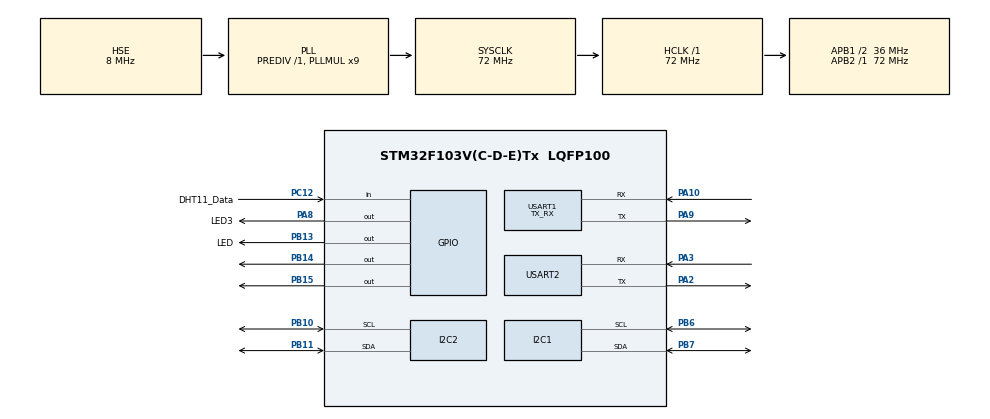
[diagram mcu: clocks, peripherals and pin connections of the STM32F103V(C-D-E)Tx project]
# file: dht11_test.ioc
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Dma.Request0=USART2_RX
Dma.USART2_RX.0.Direction=DMA_PERIPH_TO_MEMORY
Dma.USART2_RX.0.Instance=DMA1_Channel6
Dma.USART2_RX.0.MemDataAlignment=DMA_MDATAALIGN_BYTE
Dma.USART2_RX.0.MemInc=DMA_MINC_ENABLE
Dma.USART2_RX.0.Mode=DMA_NORMAL
Dma.USART2_RX.0.PeriphDataAlignment=DMA_PDATAALIGN_BYTE
Dma.USART2_RX.0.PeriphInc=DMA_PINC_DISABLE
Dma.USART2_RX.0.Priority=DMA_PRIORITY_LOW
Mcu.Family=STM32F1
Mcu.Name=STM32F103V(C-D-E)Tx
Mcu.Package=LQFP100
NVIC.DMA1_Channel6_IRQn=true\:0\:0\:false\:false\:true\:false\:true
NVIC.PriorityGroup=NVIC_PRIORITYGROUP_4
NVIC.TIM1_UP_IRQn=true\:0\:0\:false\:false\:true\:true\:true
NVIC.TIM2_IRQn=true\:0\:0\:false\:false\:true\:true\:true
NVIC.TIM3_IRQn=true\:0\:0\:false\:false\:true\:true\:true
NVIC.USART1_IRQn=true\:0\:0\:false\:false\:true\:true\:true
NVIC.USART2_IRQn=true\:0\:0\:false\:false\:true\:true\:true
OSC_IN.Mode=HSE-External-Oscillator
OSC_IN.Signal=RCC_OSC_IN
OSC_OUT.Mode=HSE-External-Oscillator
OSC_OUT.Signal=RCC_OSC_OUT
PA10.Mode=Asynchronous
PA10.Signal=USART1_RX
PA13.Mode=Serial_Wire
PA13.Signal=SYS_JTMS-SWDIO
PA14.Mode=Serial_Wire
PA14.Signal=SYS_JTCK-SWCLK
PA2.Mode=Asynchronous
PA2.Signal=USART2_TX
PA3.Mode=Asynchronous
PA3.Signal=USART2_RX
PA8.GPIO_Label=LED3
PA8.GPIO_Speed=GPIO_SPEED_FREQ_HIGH
PA8.PinState=GPIO_PIN_SET
PA8.Signal=GPIO_Output
PA9.Mode=Asynchronous
PA9.Signal=USART1_TX
PB10.Mode=I2C
PB10.Signal=I2C2_SCL
PB11.Mode=I2C
PB11.Signal=I2C2_SDA
PB13.GPIO_Label=LED
PB13.GPIO_Speed=GPIO_SPEED_FREQ_HIGH
PB13.Signal=GPIO_Output
PB14.Signal=GPIO_Output
PB15.Signal=GPIO_Output
PB6.Mode=I2C
PB6.Signal=I2C1_SCL
PB7.Mode=I2C
PB7.Signal=I2C1_SDA
PC12.GPIO_Label=DHT11_Data
PC12.Signal=GPIO_Input
PC14-OSC32_IN.GPIO_Label=LED1
PC14-OSC32_IN.Mode=LSE-External-Oscillator
PC14-OSC32_IN.Signal=RCC_OSC32_IN
PC15-OSC32_OUT.GPIO_Label=LED2
PC15-OSC32_OUT.Mode=LSE-External-Oscillator
PC15-OSC32_OUT.Signal=RCC_OSC32_OUT
ProjectManager.HeapSize=0x200
ProjectManager.StackSize=0x400
ProjectManager.TargetToolchain=MDK-ARM V5
RCC.AHBFreq_Value=72000000
RCC.APB1CLKDivider=RCC_HCLK_DIV2
RCC.APB1Freq_Value=36000000
RCC.APB1TimFreq_Value=72000000
RCC.APB2Freq_Value=72000000
RCC.APB2TimFreq_Value=72000000
RCC.HCLKFreq_Value=72000000
RCC.PLLMUL=RCC_PLL_MUL9
RCC.PLLSourceVirtual=RCC_PLLSOURCE_HSE
RCC.SYSCLKFreq_VALUE=72000000
RCC.SYSCLKSource=RCC_SYSCLKSOURCE_PLLCLK
RCC.USBFreq_Value=72000000
TIM1.Period=1000
TIM1.Prescaler=71
TIM2.Period=1000
TIM2.Prescaler=71
TIM3.Period=1000
TIM3.Prescaler=71
USART1.Mode=MODE_TX_RX
USART1.VirtualMode=VM_ASYNC
USART2.VirtualMode=VM_ASYNC
VP_CRC_VS_CRC.Mode=CRC_Activate
VP_TIM1_VS_ClockSourceINT.Mode=Internal
VP_TIM2_VS_ClockSourceINT.Mode=Internal
VP_TIM3_VS_ClockSourceINT.Mode=Internal
board=custom

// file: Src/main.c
/* USER CODE BEGIN Header */
/**
  ******************************************************************************
  * @file           : main.c
  * @brief          : Main program body
  ******************************************************************************
  * @attention
  *
  * <h2><center>&copy; Copyright (c) 2020 STMicroelectronics.
  * All rights reserved.</center></h2>
  *
  * This software component is licensed by ST under BSD 3-Clause license,
  * the "License"; You may not use this file except in compliance with the
  * License. You may obtain a copy of the License at:
  *                        opensource.org/licenses/BSD-3-Clause
  *
  ******************************************************************************
  */
/* USER CODE END Header */

#include "main.h"
#include "crc.h"
#include "dma.h"
#include "i2c.h"
#include "tim.h"
#include "usart.h"
#include "gpio.h"

/* USER CODE BEGIN Includes */
#include "dht11.h"
#include "delay.h"
#include "m5311.h"
#include "bh1750.h"
#include "data_up.h"
#include "sht30.h"
/* USER CODE END Includes */

/* USER CODE BEGIN PTD */
void 	outside(uint16_t i);
 uint8_t recv_dat[6] = {0};

/* USER CODE END PTD */

void SystemClock_Config(void);

/* USER CODE BEGIN 0 */

void data_up(int data_i)
{
	if(data_i == 1)
	{
		data_i = 0;
		updata();
	}
}

/* USER CODE END 0 */

int main(void)
{

  /* MCU Configuration--------------------------------------------------------*/

  /* Reset of all peripherals, Initializes the Flash interface and the Systick. */
  HAL_Init();

  /* USER CODE BEGIN Init */
	delay_init(72);//初始化延时函数
	DHT11_Init();//初始化dht11
  /* USER CODE END Init */

  /* Configure the system clock */
  SystemClock_Config();

  /* Initialize all configured peripherals */
  MX_GPIO_Init();
  MX_DMA_Init();
  MX_USART1_UART_Init();
  MX_I2C1_Init();
  MX_USART2_UART_Init();
  MX_TIM1_Init();
  MX_TIM2_Init();
  MX_TIM3_Init();
  MX_CRC_Init();
  MX_I2C2_Init();
  /* USER CODE BEGIN 2 */
	EnableUsart_IT();
	HAL_TIM_Base_Start_IT(&htim1);
	res();//nb模组上电复位+初始化
//	if(SHT30_Init() == HAL_OK)
//        printf("sht30 init ok.\r\n");
//    else
//        printf("sht30 init fail.\r\n");
//	NB_M5311_Init();
  /* USER CODE END 2 */

  /* Infinite loop */
  while (1)
  {

    /* USER CODE BEGIN 3 */
		data_up(data_i);
		outside(rt_out_i);
		readrsp(t);
//		sht30();
  }
  /* USER CODE END 3 */
}

void SystemClock_Config(void)
{
  RCC_OscInitTypeDef RCC_OscInitStruct = {0};
  RCC_ClkInitTypeDef RCC_ClkInitStruct = {0};

  /** Initializes the CPU, AHB and APB busses clocks
  */
  RCC_OscInitStruct.OscillatorType = RCC_OSCILLATORTYPE_HSE;
  RCC_OscInitStruct.HSEState = RCC_HSE_ON;
  RCC_OscInitStruct.HSEPredivValue = RCC_HSE_PREDIV_DIV1;
  RCC_OscInitStruct.HSIState = RCC_HSI_ON;
  RCC_OscInitStruct.PLL.PLLState = RCC_PLL_ON;
  RCC_OscInitStruct.PLL.PLLSource = RCC_PLLSOURCE_HSE;
  RCC_OscInitStruct.PLL.PLLMUL = RCC_PLL_MUL9;
  if (HAL_RCC_OscConfig(&RCC_OscInitStruct) != HAL_OK)
  {
    Error_Handler();
  }
  /** Initializes the CPU, AHB and APB busses clocks
  */
  RCC_ClkInitStruct.ClockType = RCC_CLOCKTYPE_HCLK|RCC_CLOCKTYPE_SYSCLK
                              |RCC_CLOCKTYPE_PCLK1|RCC_CLOCKTYPE_PCLK2;
  RCC_ClkInitStruct.SYSCLKSource = RCC_SYSCLKSOURCE_PLLCLK;
  RCC_ClkInitStruct.AHBCLKDivider = RCC_SYSCLK_DIV1;
  RCC_ClkInitStruct.APB1CLKDivider = RCC_HCLK_DIV2;
  RCC_ClkInitStruct.APB2CLKDivider = RCC_HCLK_DIV1;

  if (HAL_RCC_ClockConfig(&RCC_ClkInitStruct, FLASH_LATENCY_2) != HAL_OK)
  {
    Error_Handler();
  }
}

/* USER CODE BEGIN 4 */

//参数为控制外设开关
//0为全部关闭
//9全部开启
//1为外设1开启
//2为外设2开启
//可自定义
void 	outside(uint16_t i){
	switch(i){
		case 1:
			//开启外设1
		HAL_GPIO_TogglePin(LED3_GPIO_Port,LED3_Pin);
		rt_out_i = 0;
		rt_i = 2;
		msg(out[1],rt_i,rw);//向平台返回消息
		break;
		case 2:
			//关闭外设1
		HAL_GPIO_TogglePin(LED3_GPIO_Port,LED3_Pin);
		rt_out_i = 0;
		rt_i = 2;
		msg(out[1],rt_i,rw);//向平台返回消息
		break;
		case 3:
			//外设3
		break;
		case 9:
			//全部关闭
		break;
		case 10:
			//全部开启
		break;
	}
}

/* USER CODE END 4 */

void Error_Handler(void)
{
}

/************************ (C) COPYRIGHT STMicroelectronics *****END OF FILE****/
